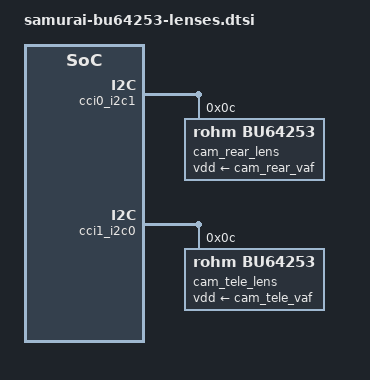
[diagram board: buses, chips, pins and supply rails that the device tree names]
// SPDX-License-Identifier: BSD-3-Clause
/*
 * Offline draft only. Not included by any production DTS.
 * Install/review matching driver and private firmware BEFORE including this
 * file. A failed lens probe may also block the sensor async notifier because
 * lens-focus creates a required dependency. Preserve the current DT rollback.
 * First integration should enable only the selected lens, not both at once.
 */
&cam_pmic_q {
	regulators {
		cam_rear_vaf: ldo6 {
			regulator-name = "cam-rear-vaf";
			regulator-min-microvolt = <2800000>;
			regulator-max-microvolt = <2800000>;
		};
	};
};

&cam_pmic_p {
	regulators {
		cam_tele_vaf: ldo3 {
			regulator-name = "cam-tele-vaf";
			regulator-min-microvolt = <2800000>;
			regulator-max-microvolt = <2800000>;
		};
	};
};

&cci0_i2c1 {
	cam_rear_lens: lens@c {
		compatible = "rohm,bu64253";
		reg = <0x0c>;
		vdd-supply = <&cam_rear_vaf>;
		firmware-name = "camera/realme-x2-pro/imx319-bu64253-init.bin";
	};
};

&cam_rear {
	lens-focus = <&cam_rear_lens>;
};

&cci1_i2c0 {
	cam_tele_lens: lens@c {
		compatible = "rohm,bu64253";
		reg = <0x0c>;
		vdd-supply = <&cam_tele_vaf>;
		firmware-name = "camera/realme-x2-pro/s5k3m5sx-bu64253-init.bin";
	};
};

&cam_tele {
	lens-focus = <&cam_tele_lens>;
};
